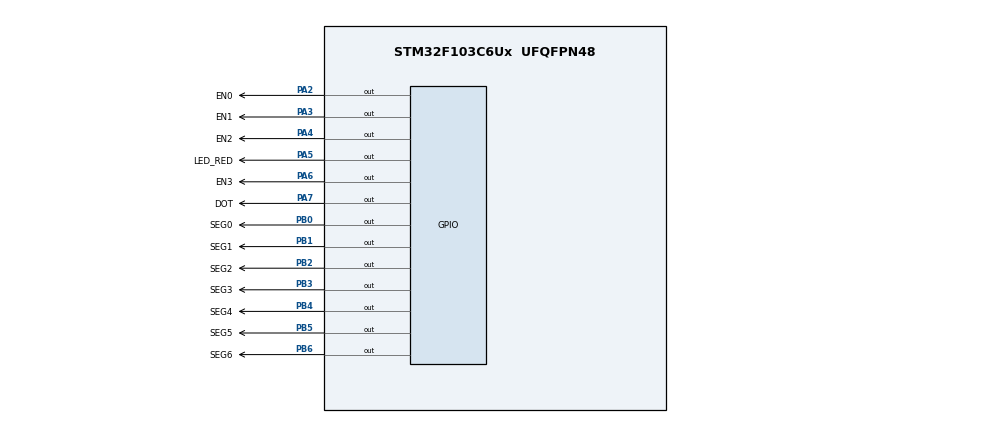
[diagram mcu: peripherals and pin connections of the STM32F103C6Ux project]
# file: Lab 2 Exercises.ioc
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Mcu.Family=STM32F1
Mcu.Name=STM32F103C6Ux
Mcu.Package=UFQFPN48
NVIC.PriorityGroup=NVIC_PRIORITYGROUP_4
NVIC.TIM2_IRQn=true\:0\:0\:false\:false\:true\:true\:true
PA2.GPIO_Label=EN0
PA2.Signal=GPIO_Output
PA3.GPIO_Label=EN1
PA3.Signal=GPIO_Output
PA4.GPIO_Label=EN2
PA4.Signal=GPIO_Output
PA5.GPIO_Label=LED_RED
PA5.Signal=GPIO_Output
PA6.GPIO_Label=EN3
PA6.Signal=GPIO_Output
PA7.GPIO_Label=DOT
PA7.Signal=GPIO_Output
PB0.GPIO_Label=SEG0
PB0.Signal=GPIO_Output
PB1.GPIO_Label=SEG1
PB1.Signal=GPIO_Output
PB2.GPIO_Label=SEG2
PB2.Signal=GPIO_Output
PB3.GPIO_Label=SEG3
PB3.Signal=GPIO_Output
PB4.GPIO_Label=SEG4
PB4.Signal=GPIO_Output
PB5.GPIO_Label=SEG5
PB5.Signal=GPIO_Output
PB6.GPIO_Label=SEG6
PB6.Signal=GPIO_Output
ProjectManager.HeapSize=0x200
ProjectManager.StackSize=0x400
ProjectManager.TargetToolchain=STM32CubeIDE
RCC.APB1Freq_Value=8000000
RCC.APB2Freq_Value=8000000
TIM2.Period=9
TIM2.Prescaler=7999
VP_SYS_VS_ND.Mode=No_Debug
VP_TIM2_VS_ClockSourceINT.Mode=Internal
board=custom

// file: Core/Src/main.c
/* USER CODE BEGIN Header */
/**
  ******************************************************************************
  * @file           : main.c
  * @brief          : Main program body
  ******************************************************************************
  * @attention
  *
  * <h2><center>&copy; Copyright (c) 2022 STMicroelectronics.
  * All rights reserved.</center></h2>
  *
  * This software component is licensed by ST under BSD 3-Clause license,
  * the "License"; You may not use this file except in compliance with the
  * License. You may obtain a copy of the License at:
  *                        opensource.org/licenses/BSD-3-Clause
  *
  ******************************************************************************
  */
/* USER CODE END Header */
#include "main.h"

/* USER CODE BEGIN Includes */
#include "software_timer.h"
/* USER CODE END Includes */

TIM_HandleTypeDef htim2;

void SystemClock_Config(void);
static void MX_GPIO_Init(void);
static void MX_TIM2_Init(void);

/* USER CODE BEGIN 0 */

void display7SEG(int num) {
  switch(num) {
	  case 0 : {
		  HAL_GPIO_WritePin(SEG0_GPIO_Port, SEG0_Pin, 0);
		  HAL_GPIO_WritePin(SEG1_GPIO_Port, SEG1_Pin, 0);
		  HAL_GPIO_WritePin(SEG2_GPIO_Port, SEG2_Pin, 0);
		  HAL_GPIO_WritePin(SEG3_GPIO_Port, SEG3_Pin, 0);
		  HAL_GPIO_WritePin(SEG4_GPIO_Port, SEG4_Pin, 0);
		  HAL_GPIO_WritePin(SEG5_GPIO_Port, SEG5_Pin, 0);
		  HAL_GPIO_WritePin(SEG6_GPIO_Port, SEG6_Pin, 1);
		  break;
	  }

	  case 1 : {
		  HAL_GPIO_WritePin(SEG0_GPIO_Port, SEG0_Pin, 1);
		  HAL_GPIO_WritePin(SEG1_GPIO_Port, SEG1_Pin, 0);
		  HAL_GPIO_WritePin(SEG2_GPIO_Port, SEG2_Pin, 0);
		  HAL_GPIO_WritePin(SEG3_GPIO_Port, SEG3_Pin, 1);
		  HAL_GPIO_WritePin(SEG4_GPIO_Port, SEG4_Pin, 1);
		  HAL_GPIO_WritePin(SEG5_GPIO_Port, SEG5_Pin, 1);
		  HAL_GPIO_WritePin(SEG6_GPIO_Port, SEG6_Pin, 1);
		  break;
	  }

	  case 2 : {
		  HAL_GPIO_WritePin(SEG0_GPIO_Port, SEG0_Pin, 0);
		  HAL_GPIO_WritePin(SEG1_GPIO_Port, SEG1_Pin, 0);
		  HAL_GPIO_WritePin(SEG2_GPIO_Port, SEG2_Pin, 1);
		  HAL_GPIO_WritePin(SEG3_GPIO_Port, SEG3_Pin, 0);
		  HAL_GPIO_WritePin(SEG4_GPIO_Port, SEG4_Pin, 0);
		  HAL_GPIO_WritePin(SEG5_GPIO_Port, SEG5_Pin, 1);
		  HAL_GPIO_WritePin(SEG6_GPIO_Port, SEG6_Pin, 0);
		  break;
	  }
	  case 3 : {
		  HAL_GPIO_WritePin(SEG0_GPIO_Port, SEG0_Pin, 0);
		  HAL_GPIO_WritePin(SEG1_GPIO_Port, SEG1_Pin, 0);
		  HAL_GPIO_WritePin(SEG2_GPIO_Port, SEG2_Pin, 0);
		  HAL_GPIO_WritePin(SEG3_GPIO_Port, SEG3_Pin, 0);
		  HAL_GPIO_WritePin(SEG4_GPIO_Port, SEG4_Pin, 1);
		  HAL_GPIO_WritePin(SEG5_GPIO_Port, SEG5_Pin, 1);
		  HAL_GPIO_WritePin(SEG6_GPIO_Port, SEG6_Pin, 0);
		  break;
	  }
	  case 4 : {
		  HAL_GPIO_WritePin(SEG0_GPIO_Port, SEG0_Pin, 1);
		  HAL_GPIO_WritePin(SEG1_GPIO_Port, SEG1_Pin, 0);
		  HAL_GPIO_WritePin(SEG2_GPIO_Port, SEG2_Pin, 0);
		  HAL_GPIO_WritePin(SEG3_GPIO_Port, SEG3_Pin, 1);
		  HAL_GPIO_WritePin(SEG4_GPIO_Port, SEG4_Pin, 1);
		  HAL_GPIO_WritePin(SEG5_GPIO_Port, SEG5_Pin, 0);
		  HAL_GPIO_WritePin(SEG6_GPIO_Port, SEG6_Pin, 0);
		  break;
	  }
	  case 5 : {
		  HAL_GPIO_WritePin(SEG0_GPIO_Port, SEG0_Pin, 0);
		  HAL_GPIO_WritePin(SEG1_GPIO_Port, SEG1_Pin, 1);
		  HAL_GPIO_WritePin(SEG2_GPIO_Port, SEG2_Pin, 0);
		  HAL_GPIO_WritePin(SEG3_GPIO_Port, SEG3_Pin, 0);
		  HAL_GPIO_WritePin(SEG4_GPIO_Port, SEG4_Pin, 1);
		  HAL_GPIO_WritePin(SEG5_GPIO_Port, SEG5_Pin, 0);
		  HAL_GPIO_WritePin(SEG6_GPIO_Port, SEG6_Pin, 0);
		  break;
	  }
	  case 6 : {
		  HAL_GPIO_WritePin(SEG0_GPIO_Port, SEG0_Pin, 0);
		  HAL_GPIO_WritePin(SEG1_GPIO_Port, SEG1_Pin, 1);
		  HAL_GPIO_WritePin(SEG2_GPIO_Port, SEG2_Pin, 0);
		  HAL_GPIO_WritePin(SEG3_GPIO_Port, SEG3_Pin, 0);
		  HAL_GPIO_WritePin(SEG4_GPIO_Port, SEG4_Pin, 0);
		  HAL_GPIO_WritePin(SEG5_GPIO_Port, SEG5_Pin, 0);
		  HAL_GPIO_WritePin(SEG6_GPIO_Port, SEG6_Pin, 0);
		  break;
	  }
	  case 7 : {
		  HAL_GPIO_WritePin(SEG0_GPIO_Port, SEG0_Pin, 0);
		  HAL_GPIO_WritePin(SEG1_GPIO_Port, SEG1_Pin, 0);
		  HAL_GPIO_WritePin(SEG2_GPIO_Port, SEG2_Pin, 0);
		  HAL_GPIO_WritePin(SEG3_GPIO_Port, SEG3_Pin, 1);
		  HAL_GPIO_WritePin(SEG4_GPIO_Port, SEG4_Pin, 1);
		  HAL_GPIO_WritePin(SEG5_GPIO_Port, SEG5_Pin, 1);
		  HAL_GPIO_WritePin(SEG6_GPIO_Port, SEG6_Pin, 1);
		  break;
	  }
	  case 8 : {
		  HAL_GPIO_WritePin(SEG0_GPIO_Port, SEG0_Pin, 0);
		  HAL_GPIO_WritePin(SEG1_GPIO_Port, SEG1_Pin, 0);
		  HAL_GPIO_WritePin(SEG2_GPIO_Port, SEG2_Pin, 0);
		  HAL_GPIO_WritePin(SEG3_GPIO_Port, SEG3_Pin, 0);
		  HAL_GPIO_WritePin(SEG4_GPIO_Port, SEG4_Pin, 0);
		  HAL_GPIO_WritePin(SEG5_GPIO_Port, SEG5_Pin, 0);
		  HAL_GPIO_WritePin(SEG6_GPIO_Port, SEG6_Pin, 0);
		  break;
	  }
	  case 9 : {
		  HAL_GPIO_WritePin(SEG0_GPIO_Port, SEG0_Pin, 0);
		  HAL_GPIO_WritePin(SEG1_GPIO_Port, SEG1_Pin, 0);
		  HAL_GPIO_WritePin(SEG2_GPIO_Port, SEG2_Pin, 0);
		  HAL_GPIO_WritePin(SEG3_GPIO_Port, SEG3_Pin, 0);
		  HAL_GPIO_WritePin(SEG4_GPIO_Port, SEG4_Pin, 1);
		  HAL_GPIO_WritePin(SEG5_GPIO_Port, SEG5_Pin, 0);
		  HAL_GPIO_WritePin(SEG6_GPIO_Port, SEG6_Pin, 0);
		  break;
	  }

	  default : {
		  HAL_GPIO_WritePin(SEG0_GPIO_Port, SEG0_Pin, 1);
		  HAL_GPIO_WritePin(SEG1_GPIO_Port, SEG1_Pin, 1);
		  HAL_GPIO_WritePin(SEG2_GPIO_Port, SEG2_Pin, 1);
		  HAL_GPIO_WritePin(SEG3_GPIO_Port, SEG3_Pin, 1);
		  HAL_GPIO_WritePin(SEG4_GPIO_Port, SEG4_Pin, 1);
		  HAL_GPIO_WritePin(SEG5_GPIO_Port, SEG5_Pin, 1);
		  HAL_GPIO_WritePin(SEG6_GPIO_Port, SEG6_Pin, 1);
		  break;
	  }
  }
}

/* USER CODE END 0 */

int main(void)
{

  /* MCU Configuration--------------------------------------------------------*/

  /* Reset of all peripherals, Initializes the Flash interface and the Systick. */
  HAL_Init();

  /* Configure the system clock */
  SystemClock_Config();

  /* Initialize all configured peripherals */
  MX_GPIO_Init();
  MX_TIM2_Init();
  /* USER CODE BEGIN 2 */
  HAL_TIM_Base_Start_IT(&htim2);
  /* USER CODE END 2 */

  /* Infinite loop */
  /* USER CODE BEGIN WHILE */
  setTimer1(2);
  setTimer2(3);
  int led_status = 1;
    while (1)
    {
  	  if (timer1_flag == 1) {
  		  // switching 2 LED 7 SEG half of second
  		  setTimer1(50);
  		  switch(led_status) {
  			  case 1:
  				  HAL_GPIO_WritePin(GPIOA, EN0_Pin, 0);
  				  HAL_GPIO_WritePin(GPIOA, EN1_Pin, 1);
  				  led_status = 2;
  				  display7SEG(1);
  				  break;
  			  case 2:
  				  HAL_GPIO_WritePin(GPIOA, EN0_Pin, 1);
  				  HAL_GPIO_WritePin(GPIOA, EN1_Pin, 0);
  				  led_status = 1;
  				  display7SEG(2);
  				  break;
  			  default:
  				  break;
  		  }
  	  }

  	  if (timer2_flag == 1) {
  		  // blinking PA5 LED every second
  		  setTimer2(100);
  		  HAL_GPIO_TogglePin(GPIOA, LED_RED_Pin);
  	  }
    /* USER CODE END WHILE */

    }
}

void SystemClock_Config(void)
{
  RCC_OscInitTypeDef RCC_OscInitStruct = {0};
  RCC_ClkInitTypeDef RCC_ClkInitStruct = {0};

  /** Initializes the RCC Oscillators according to the specified parameters
  * in the RCC_OscInitTypeDef structure.
  */
  RCC_OscInitStruct.OscillatorType = RCC_OSCILLATORTYPE_HSI;
  RCC_OscInitStruct.HSIState = RCC_HSI_ON;
  RCC_OscInitStruct.HSICalibrationValue = RCC_HSICALIBRATION_DEFAULT;
  RCC_OscInitStruct.PLL.PLLState = RCC_PLL_NONE;
  if (HAL_RCC_OscConfig(&RCC_OscInitStruct) != HAL_OK)
  {
    Error_Handler();
  }
  /** Initializes the CPU, AHB and APB buses clocks
  */
  RCC_ClkInitStruct.ClockType = RCC_CLOCKTYPE_HCLK|RCC_CLOCKTYPE_SYSCLK
                              |RCC_CLOCKTYPE_PCLK1|RCC_CLOCKTYPE_PCLK2;
  RCC_ClkInitStruct.SYSCLKSource = RCC_SYSCLKSOURCE_HSI;
  RCC_ClkInitStruct.AHBCLKDivider = RCC_SYSCLK_DIV1;
  RCC_ClkInitStruct.APB1CLKDivider = RCC_HCLK_DIV1;
  RCC_ClkInitStruct.APB2CLKDivider = RCC_HCLK_DIV1;

  if (HAL_RCC_ClockConfig(&RCC_ClkInitStruct, FLASH_LATENCY_0) != HAL_OK)
  {
    Error_Handler();
  }
}

static void MX_TIM2_Init(void)
{

  TIM_ClockConfigTypeDef sClockSourceConfig = {0};
  TIM_MasterConfigTypeDef sMasterConfig = {0};

  htim2.Instance = TIM2;
  htim2.Init.Prescaler = 7999;
  htim2.Init.CounterMode = TIM_COUNTERMODE_UP;
  htim2.Init.Period = 9;
  htim2.Init.ClockDivision = TIM_CLOCKDIVISION_DIV1;
  htim2.Init.AutoReloadPreload = TIM_AUTORELOAD_PRELOAD_DISABLE;
  if (HAL_TIM_Base_Init(&htim2) != HAL_OK)
  {
    Error_Handler();
  }
  sClockSourceConfig.ClockSource = TIM_CLOCKSOURCE_INTERNAL;
  if (HAL_TIM_ConfigClockSource(&htim2, &sClockSourceConfig) != HAL_OK)
  {
    Error_Handler();
  }
  sMasterConfig.MasterOutputTrigger = TIM_TRGO_RESET;
  sMasterConfig.MasterSlaveMode = TIM_MASTERSLAVEMODE_DISABLE;
  if (HAL_TIMEx_MasterConfigSynchronization(&htim2, &sMasterConfig) != HAL_OK)
  {
    Error_Handler();
  }

}

static void MX_GPIO_Init(void)
{
  GPIO_InitTypeDef GPIO_InitStruct = {0};

  /* GPIO Ports Clock Enable */
  __HAL_RCC_GPIOA_CLK_ENABLE();
  __HAL_RCC_GPIOB_CLK_ENABLE();

  /*Configure GPIO pin Output Level */
  HAL_GPIO_WritePin(GPIOA, EN0_Pin|EN1_Pin|EN2_Pin|LED_RED_Pin
                          |EN3_Pin|DOT_Pin, GPIO_PIN_RESET);

  /*Configure GPIO pin Output Level */
  HAL_GPIO_WritePin(GPIOB, SEG0_Pin|SEG1_Pin|SEG2_Pin|SEG3_Pin
                          |SEG4_Pin|SEG5_Pin|SEG6_Pin, GPIO_PIN_RESET);

  /*Configure GPIO pins : EN0_Pin EN1_Pin EN2_Pin LED_RED_Pin
                           EN3_Pin DOT_Pin */
  GPIO_InitStruct.Pin = EN0_Pin|EN1_Pin|EN2_Pin|LED_RED_Pin
                          |EN3_Pin|DOT_Pin;
  GPIO_InitStruct.Mode = GPIO_MODE_OUTPUT_PP;
  GPIO_InitStruct.Pull = GPIO_NOPULL;
  GPIO_InitStruct.Speed = GPIO_SPEED_FREQ_LOW;
  HAL_GPIO_Init(GPIOA, &GPIO_InitStruct);

  /*Configure GPIO pins : SEG0_Pin SEG1_Pin SEG2_Pin SEG3_Pin
                           SEG4_Pin SEG5_Pin SEG6_Pin */
  GPIO_InitStruct.Pin = SEG0_Pin|SEG1_Pin|SEG2_Pin|SEG3_Pin
                          |SEG4_Pin|SEG5_Pin|SEG6_Pin;
  GPIO_InitStruct.Mode = GPIO_MODE_OUTPUT_PP;
  GPIO_InitStruct.Pull = GPIO_NOPULL;
  GPIO_InitStruct.Speed = GPIO_SPEED_FREQ_LOW;
  HAL_GPIO_Init(GPIOB, &GPIO_InitStruct);

}

/* USER CODE BEGIN 4 */

void HAL_TIM_PeriodElapsedCallback(TIM_HandleTypeDef *htim){
	timerRun();
}
/* USER CODE END 4 */

void Error_Handler(void)
{
  __disable_irq();
  while (1)
  {
  }
}

/************************ (C) COPYRIGHT STMicroelectronics *****END OF FILE****/
